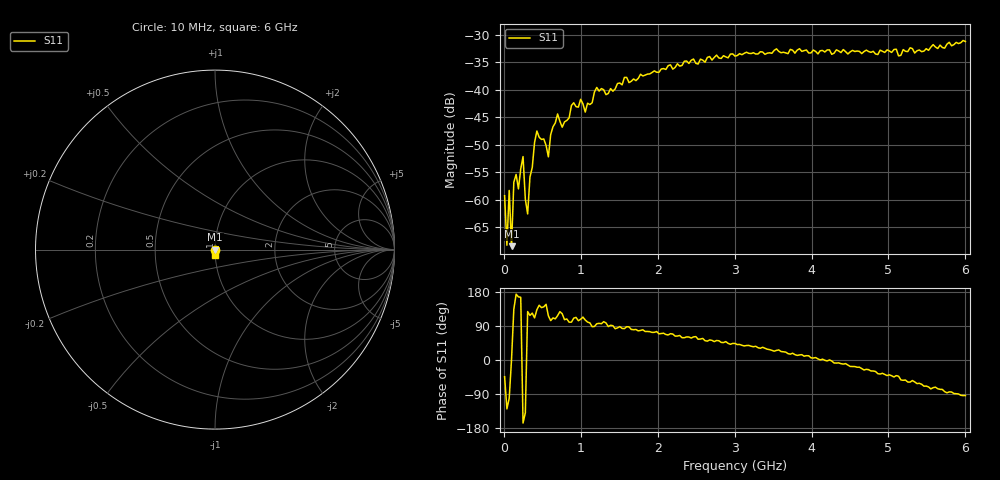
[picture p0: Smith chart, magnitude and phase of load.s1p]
!Keysight Technologies,N5222B,MY58421855,A.13.65.03
!Date: Tuesday, September 29, 2020 17:05:03
!Correction: S11(Full 1 Port(1))
!S1P File: Measurement: S11:
# Hz S  RI  R 50
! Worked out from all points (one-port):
!   201 points, 10 MHz to 6 GHz, reference 50 ohm
!   lowest |S11| = -68.4 dB at 99.85 MHz (marker M1), VSWR 1.00, Z = 50 + j0.000777 ohm
!   |S11| at or under -10 dB: start of sweep to end of sweep
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1e7  0.000783 -0.000756
3.995e7  -0.000243 -0.0003
6.99e7  -0.00023 -0.00119
9.985e7  0.000378 7.76e-06
1.298e8  -0.001 0.00104
1.5975e8  -0.00169 0.000186
1.897e8  -0.00122 0.00029
2.496e8  -0.0024 -0.000585
2.7955e8  -0.000765 -0.000656
3.095e8  -0.000456 0.000587
3.3945e8  -0.000747 0.00142
4.293e8  -0.00285 0.0031
5.7905e8  -0.00109 0.0022
6.09e8  -0.000941 0.00379
6.9885e8  -0.00273 0.00536
7.5875e8  -0.00241 0.00387
9.085e8  -0.00266 0.00713
9.9835e8  -0.00245 0.0078
1.05825e9  -0.00168 0.00604
1.208e9  -0.00102 0.0104
1.3278e9  -0.00123 0.00894
1.5075e9  0.000374 0.0115
2.25625e9  0.00774 0.0154
3.005e9  0.0146 0.014
3.75375e9  0.0218 0.00702
4.5025e9  0.0211 -0.00646
5.25125e9  0.0117 -0.0189
6e9  -0.00176 -0.0274
